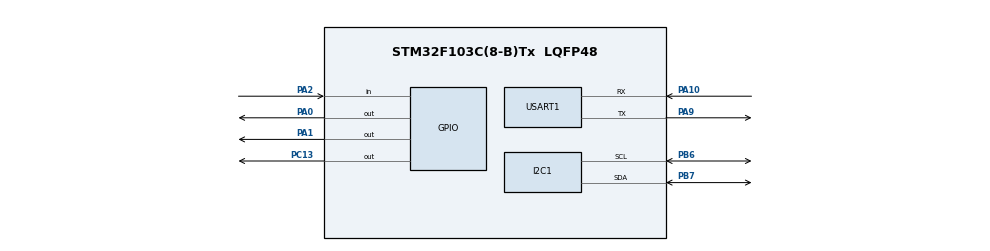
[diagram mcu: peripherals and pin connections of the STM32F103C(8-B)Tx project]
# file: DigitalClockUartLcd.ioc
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I2C1.I2C_Mode=I2C_Standard
Mcu.Family=STM32F1
Mcu.Name=STM32F103C(8-B)Tx
Mcu.Package=LQFP48
NVIC.PriorityGroup=NVIC_PRIORITYGROUP_4
PA0-WKUP.Signal=GPIO_Output
PA1.Signal=GPIO_Output
PA10.Mode=Asynchronous
PA10.Signal=USART1_RX
PA2.Signal=GPIO_Input
PA9.Mode=Asynchronous
PA9.Signal=USART1_TX
PB6.Mode=I2C
PB6.Signal=I2C1_SCL
PB7.Mode=I2C
PB7.Signal=I2C1_SDA
PC13-TAMPER-RTC.Signal=GPIO_Output
ProjectManager.HeapSize=0x200
ProjectManager.StackSize=0x400
ProjectManager.TargetToolchain=STM32CubeIDE
RCC.APB1Freq_Value=8000000
RCC.APB2Freq_Value=8000000
RTC.Hours=15
RTC.Minutes=31
RTC.Month=RTC_MONTH_NOVEMBER
RTC.WeekDay=RTC_WEEKDAY_FRIDAY
USART1.VirtualMode=VM_ASYNC
VP_RTC_VS_RTC_Activate.Mode=RTC_Enabled
VP_RTC_VS_RTC_Calendar.Mode=RTC_Calendar
VP_SYS_VS_ND.Mode=No_Debug
board=custom

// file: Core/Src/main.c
/* USER CODE BEGIN Header */
/**
  ******************************************************************************
  * @file           : main.c
  * @brief          : Main program body
  ******************************************************************************
  * @attention
  *
  * Copyright (c) 2025 STMicroelectronics.
  * All rights reserved.
  *
  * This software is licensed under terms that can be found in the LICENSE file
  * in the root directory of this software component.
  * If no LICENSE file comes with this software, it is provided AS-IS.
  *
  ******************************************************************************
  */
/* USER CODE END Header */
#include "main.h"

/* USER CODE BEGIN Includes */
#include "lcd.h"
/* USER CODE END Includes */

I2C_HandleTypeDef hi2c1;

RTC_HandleTypeDef hrtc;

UART_HandleTypeDef huart1;

/* USER CODE BEGIN PV */
RTC_TimeTypeDef gTime;
/* USER CODE END PV */

void SystemClock_Config(void);
static void MX_GPIO_Init(void);
static void MX_I2C1_Init(void);
static void MX_RTC_Init(void);
static void MX_USART1_UART_Init(void);

int main(void)
{

  /* MCU Configuration--------------------------------------------------------*/

  /* Reset of all peripherals, Initializes the Flash interface and the Systick. */
  HAL_Init();

  /* Configure the system clock */
  SystemClock_Config();

  /* Initialize all configured peripherals */
  MX_GPIO_Init();
  MX_I2C1_Init();
  MX_RTC_Init();
  MX_USART1_UART_Init();

  /* Infinite loop */
  /* USER CODE BEGIN WHILE */
  uint8_t hours,min,sec;

  uint8_t time[11]={'0','0',':','0','0',':','0','0','\0','\n','\r'};

  lcd_init();
  while (1)
  {
    /* USER CODE END WHILE */

    /* USER CODE BEGIN 3 */
	  //counter_time = RTC_ReadTimeCounter(hrtc);

	  HAL_RTC_GetTime(&hrtc, &gTime, RTC_FORMAT_BCD);
	  hours = gTime.Hours;
	  min = gTime.Minutes;
	  sec= gTime.Seconds;
	  time[0] = ((hours&0xF0)>>4)+0x30;
	  time[1] = (hours&0x0F)+0x30;
	  time[3] = ((min&0xF0)>>4)+0x30;
	  time[4] = (min&0x0F)+0x30;
	  time[6] = ((sec&0xF0)>>4)+0x30;
	  time[7] = (sec&0x0F)+0x30;

	  HAL_UART_Transmit(&huart1, time, 10, 1000);
	  //if()
	  lcd_write_command4bitmode(0x80);
	  lcd_write_data4bitmode(time);

	  HAL_Delay(1000);
  }
  /* USER CODE END 3 */
}

void SystemClock_Config(void)
{
  RCC_OscInitTypeDef RCC_OscInitStruct = {0};
  RCC_ClkInitTypeDef RCC_ClkInitStruct = {0};
  RCC_PeriphCLKInitTypeDef PeriphClkInit = {0};

  /** Initializes the RCC Oscillators according to the specified parameters
  * in the RCC_OscInitTypeDef structure.
  */
  RCC_OscInitStruct.OscillatorType = RCC_OSCILLATORTYPE_HSI|RCC_OSCILLATORTYPE_LSI;
  RCC_OscInitStruct.HSIState = RCC_HSI_ON;
  RCC_OscInitStruct.HSICalibrationValue = RCC_HSICALIBRATION_DEFAULT;
  RCC_OscInitStruct.LSIState = RCC_LSI_ON;
  RCC_OscInitStruct.PLL.PLLState = RCC_PLL_NONE;
  if (HAL_RCC_OscConfig(&RCC_OscInitStruct) != HAL_OK)
  {
    Error_Handler();
  }

  /** Initializes the CPU, AHB and APB buses clocks
  */
  RCC_ClkInitStruct.ClockType = RCC_CLOCKTYPE_HCLK|RCC_CLOCKTYPE_SYSCLK
                              |RCC_CLOCKTYPE_PCLK1|RCC_CLOCKTYPE_PCLK2;
  RCC_ClkInitStruct.SYSCLKSource = RCC_SYSCLKSOURCE_HSI;
  RCC_ClkInitStruct.AHBCLKDivider = RCC_SYSCLK_DIV1;
  RCC_ClkInitStruct.APB1CLKDivider = RCC_HCLK_DIV1;
  RCC_ClkInitStruct.APB2CLKDivider = RCC_HCLK_DIV1;

  if (HAL_RCC_ClockConfig(&RCC_ClkInitStruct, FLASH_LATENCY_0) != HAL_OK)
  {
    Error_Handler();
  }
  PeriphClkInit.PeriphClockSelection = RCC_PERIPHCLK_RTC;
  PeriphClkInit.RTCClockSelection = RCC_RTCCLKSOURCE_LSI;
  if (HAL_RCCEx_PeriphCLKConfig(&PeriphClkInit) != HAL_OK)
  {
    Error_Handler();
  }
}

static void MX_I2C1_Init(void)
{

  hi2c1.Instance = I2C1;
  hi2c1.Init.ClockSpeed = 100000;
  hi2c1.Init.DutyCycle = I2C_DUTYCYCLE_2;
  hi2c1.Init.OwnAddress1 = 0;
  hi2c1.Init.AddressingMode = I2C_ADDRESSINGMODE_7BIT;
  hi2c1.Init.DualAddressMode = I2C_DUALADDRESS_DISABLE;
  hi2c1.Init.OwnAddress2 = 0;
  hi2c1.Init.GeneralCallMode = I2C_GENERALCALL_DISABLE;
  hi2c1.Init.NoStretchMode = I2C_NOSTRETCH_DISABLE;
  if (HAL_I2C_Init(&hi2c1) != HAL_OK)
  {
    Error_Handler();
  }

}

static void MX_RTC_Init(void)
{

  RTC_TimeTypeDef sTime = {0};
  RTC_DateTypeDef DateToUpdate = {0};

  /** Initialize RTC Only
  */
  hrtc.Instance = RTC;
  hrtc.Init.AsynchPrediv = RTC_AUTO_1_SECOND;
  hrtc.Init.OutPut = RTC_OUTPUTSOURCE_ALARM;
  if (HAL_RTC_Init(&hrtc) != HAL_OK)
  {
    Error_Handler();
  }

  /** Initialize RTC and set the Time and Date
  */
  sTime.Hours = 0x15;
  sTime.Minutes = 0x31;
  sTime.Seconds = 0x0;

  if (HAL_RTC_SetTime(&hrtc, &sTime, RTC_FORMAT_BCD) != HAL_OK)
  {
    Error_Handler();
  }
  DateToUpdate.WeekDay = RTC_WEEKDAY_FRIDAY;
  DateToUpdate.Month = RTC_MONTH_NOVEMBER;
  DateToUpdate.Date = 0x1;
  DateToUpdate.Year = 0x0;

  if (HAL_RTC_SetDate(&hrtc, &DateToUpdate, RTC_FORMAT_BCD) != HAL_OK)
  {
    Error_Handler();
  }

}

static void MX_USART1_UART_Init(void)
{

  huart1.Instance = USART1;
  huart1.Init.BaudRate = 115200;
  huart1.Init.WordLength = UART_WORDLENGTH_8B;
  huart1.Init.StopBits = UART_STOPBITS_1;
  huart1.Init.Parity = UART_PARITY_NONE;
  huart1.Init.Mode = UART_MODE_TX_RX;
  huart1.Init.HwFlowCtl = UART_HWCONTROL_NONE;
  huart1.Init.OverSampling = UART_OVERSAMPLING_16;
  if (HAL_UART_Init(&huart1) != HAL_OK)
  {
    Error_Handler();
  }

}

static void MX_GPIO_Init(void)
{
  GPIO_InitTypeDef GPIO_InitStruct = {0};

  /* GPIO Ports Clock Enable */
  __HAL_RCC_GPIOC_CLK_ENABLE();
  __HAL_RCC_GPIOA_CLK_ENABLE();
  __HAL_RCC_GPIOB_CLK_ENABLE();

  /*Configure GPIO pin Output Level */
  HAL_GPIO_WritePin(GPIOC, GPIO_PIN_13, GPIO_PIN_RESET);

  /*Configure GPIO pin Output Level */
  HAL_GPIO_WritePin(GPIOA, GPIO_PIN_0|GPIO_PIN_1, GPIO_PIN_RESET);

  /*Configure GPIO pin : PC13 */
  GPIO_InitStruct.Pin = GPIO_PIN_13;
  GPIO_InitStruct.Mode = GPIO_MODE_OUTPUT_PP;
  GPIO_InitStruct.Pull = GPIO_NOPULL;
  GPIO_InitStruct.Speed = GPIO_SPEED_FREQ_LOW;
  HAL_GPIO_Init(GPIOC, &GPIO_InitStruct);

  /*Configure GPIO pins : PA0 PA1 */
  GPIO_InitStruct.Pin = GPIO_PIN_0|GPIO_PIN_1;
  GPIO_InitStruct.Mode = GPIO_MODE_OUTPUT_PP;
  GPIO_InitStruct.Pull = GPIO_NOPULL;
  GPIO_InitStruct.Speed = GPIO_SPEED_FREQ_LOW;
  HAL_GPIO_Init(GPIOA, &GPIO_InitStruct);

  /*Configure GPIO pin : PA2 */
  GPIO_InitStruct.Pin = GPIO_PIN_2;
  GPIO_InitStruct.Mode = GPIO_MODE_INPUT;
  GPIO_InitStruct.Pull = GPIO_NOPULL;
  HAL_GPIO_Init(GPIOA, &GPIO_InitStruct);

}

void Error_Handler(void)
{
  __disable_irq();
  while (1)
  {
  }
}
